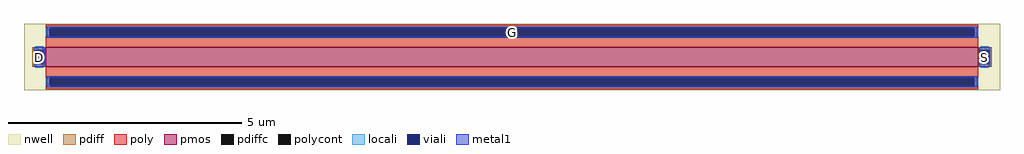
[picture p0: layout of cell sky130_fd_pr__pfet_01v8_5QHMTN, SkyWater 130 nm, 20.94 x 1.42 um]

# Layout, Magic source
magic
tech sky130A
magscale 1 2
<< nwell >>
rect -2094 -142 2094 142
<< pmos >>
rect -2000 -42 2000 42
<< pdiff >>
rect -2058 30 -2000 42
rect -2058 -30 -2046 30
rect -2012 -30 -2000 30
rect -2058 -42 -2000 -30
rect 2000 30 2058 42
rect 2000 -30 2012 30
rect 2046 -30 2058 30
rect 2000 -42 2058 -30
<< pdiffc >>
rect -2046 -30 -2012 30
rect 2012 -30 2046 30
<< poly >>
rect -2000 123 2000 139
rect -2000 89 -1984 123
rect 1984 89 2000 123
rect -2000 42 2000 89
rect -2000 -89 2000 -42
rect -2000 -123 -1984 -89
rect 1984 -123 2000 -89
rect -2000 -139 2000 -123
<< polycont >>
rect -1984 89 1984 123
rect -1984 -123 1984 -89
<< locali >>
rect -2000 89 -1984 123
rect 1984 89 2000 123
rect -2046 30 -2012 46
rect -2046 -46 -2012 -30
rect 2012 30 2046 46
rect 2012 -46 2046 -30
rect -2000 -123 -1984 -89
rect 1984 -123 2000 -89
<< viali >>
rect -1984 89 1984 123
rect -2046 -30 -2012 30
rect 2012 -30 2046 30
rect -1984 -123 1984 -89
<< metal1 >>
rect -1996 123 1996 129
rect -1996 89 -1984 123
rect 1984 89 1996 123
rect -1996 83 1996 89
rect -2052 30 -2006 42
rect -2052 -30 -2046 30
rect -2012 -30 -2006 30
rect -2052 -42 -2006 -30
rect 2006 30 2052 42
rect 2006 -30 2012 30
rect 2046 -30 2052 30
rect 2006 -42 2052 -30
rect -1996 -89 1996 -83
rect -1996 -123 -1984 -89
rect 1984 -123 1996 -89
rect -1996 -129 1996 -123
<< labels >>
rlabel pdiffc -2029 0 -2029 0 0 D
port 1 nsew
rlabel pdiffc 2029 0 2029 0 0 S
port 2 nsew
rlabel polycont 0 106 0 106 0 G
port 3 nsew
<< properties >>
string gencell sky130_fd_pr__pfet_01v8
string library sky130
string parameters w 0.42 l 20 m 1 nf 1 diffcov 100 polycov 100 guard 0 glc 1 grc 1 gtc 1 gbc 1 tbcov 100 rlcov 100 topc 1 botc 1 poverlap 0 doverlap 1 lmin 0.15 wmin 0.42 class mosfet compatible {sky130_fd_pr__pfet_01v8  sky130_fd_pr__pfet_01v8_lvt sky130_fd_pr__pfet_01v8_hvt  sky130_fd_pr__pfet_g5v0d10v5} full_metal 1 conn_gates 0 viasrc 100 viadrn 100 viagate 100 viagb 0 viagr 0 viagl 0 viagt 0 doports 1
<< end >>
